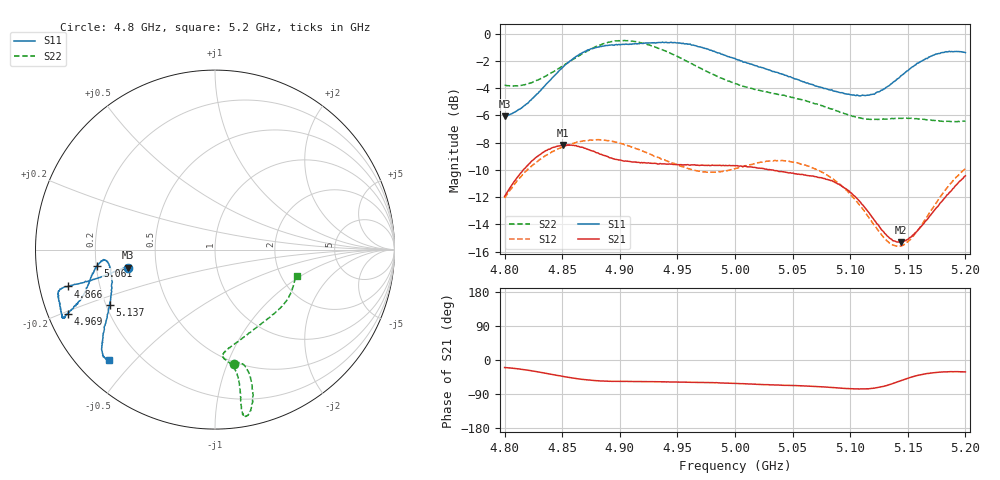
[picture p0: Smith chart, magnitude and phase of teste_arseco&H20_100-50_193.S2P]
! Network Analyzer HP8722D
! Hewlett-Packard
! Data name: Linha & Wilkinson
! Saver's name: Rodrigo Anjos
! Comments: Teste da utilização de aquisição
! continua pelo VNA HP8722D
! Time and date: 6/5/2025 14:10
!  Frequency  S11  S21  S12  S22
# HZ  S  MA R 50
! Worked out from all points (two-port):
!   401 points, 4.8 GHz to 5.2 GHz, reference 50 ohm
!   highest |S21| = -8.17 dB at 4.851 GHz (marker M1); lowest = -15.3 dB at 5.144 GHz (marker M2)
!   |S21| within 3 dB of the highest: 4.806 GHz to 5.092 GHz (286.4 MHz wide, 5.79 % of centre); 5.191333 GHz to end of sweep
!   lowest |S11| = -6.1 dB at 4.8 GHz (marker M3), VSWR 2.98, Z = 16.9 - j4.53 ohm
!   |S11| at or under -10 dB: nowhere
!   |S22| runs from -6.5 to -0.5 dB; largest |S21 - S12| = 0.62
!   S11 on the Smith chart (normalised r, x): 4.8 GHz: 0.34, -0.09; 4.866 GHz: 0.09, -0.12; 4.969 GHz: 0.06, -0.21; 5.061 GHz: 0.20, -0.07; 5.137 GHz: 0.21, -0.23; 5.2 GHz: 0.09, -0.42
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4.8e9  0.4972 -168.3  0.2527 -19.8  0.2492 -141.0  0.6476 -80.4
4.823e9  0.571 -167.6  0.3389 -28.2  0.3254 -143.9  0.6601 -76.0
4.851e9  0.7576 -165.9  0.3904 -43.5  0.3846 -149.5  0.765 -74.6
4.866e9  0.8446 -165.9  0.3831 -50.4  0.4022 -151.9  0.8381 -75.4
4.867e9  0.8502 -165.9  0.3832 -51.0  0.4026 -152.1  0.8432 -75.4
4.883e9  0.8976 -165.2  0.3609 -55.2  0.4078 -154.9  0.9095 -77.2
4.901e9  0.9132 -162.5  0.3432 -56.4  0.3954 -156.9  0.9444 -79.3
4.934e9  0.9294 -156.5  0.3324 -57.6  0.3508 -155.8  0.8833 -80.5
4.969e9  0.8955 -156.5  0.3282 -59.1  0.3128 -147.4  0.7512 -79.8
5e9  0.8114 -159.2  0.3275 -61.8  0.3195 -137.3  0.6563 -81.3
5.035e9  0.723 -165.6  0.314 -65.9  0.3427 -134.5  0.6025 -85.7
5.061e9  0.6619 -172.1  0.3031 -68.5  0.3295 -136.3  0.5687 -84.1
5.067e9  0.651 -173.1  0.3004 -69.2  0.3221 -136.9  0.5584 -82.7
5.083e9  0.6213 -174.6  0.2889 -72.4  0.2966 -138.4  0.5304 -76.7
5.101e9  0.5969 -172.0  0.2601 -75.8  0.2549 -138.9  0.5003 -66.5
5.116e9  0.5952 -165.5  0.2208 -76.0  0.2121 -135.5  0.4854 -55.8
5.134e9  0.6458 -154.3  0.1778 -65.1  0.1705 -120.6  0.4873 -43.3
5.137e9  0.6624 -152.4  0.1737 -62.2  0.1674 -116.8  0.4883 -41.5
5.144e9  0.7008 -148.9  0.1715 -54.4  0.1658 -107.5  0.489 -37.4
5.154e9  0.7567 -144.6  0.1815 -44.4  0.1796 -95.0  0.4875 -32.4
5.174e9  0.8413 -138.7  0.2271 -32.9  0.2369 -80.4  0.4802 -23.9
5.2e9  0.8531 -133.7  0.3008 -31.4  0.3193 -77.0  0.4776 -17.7
